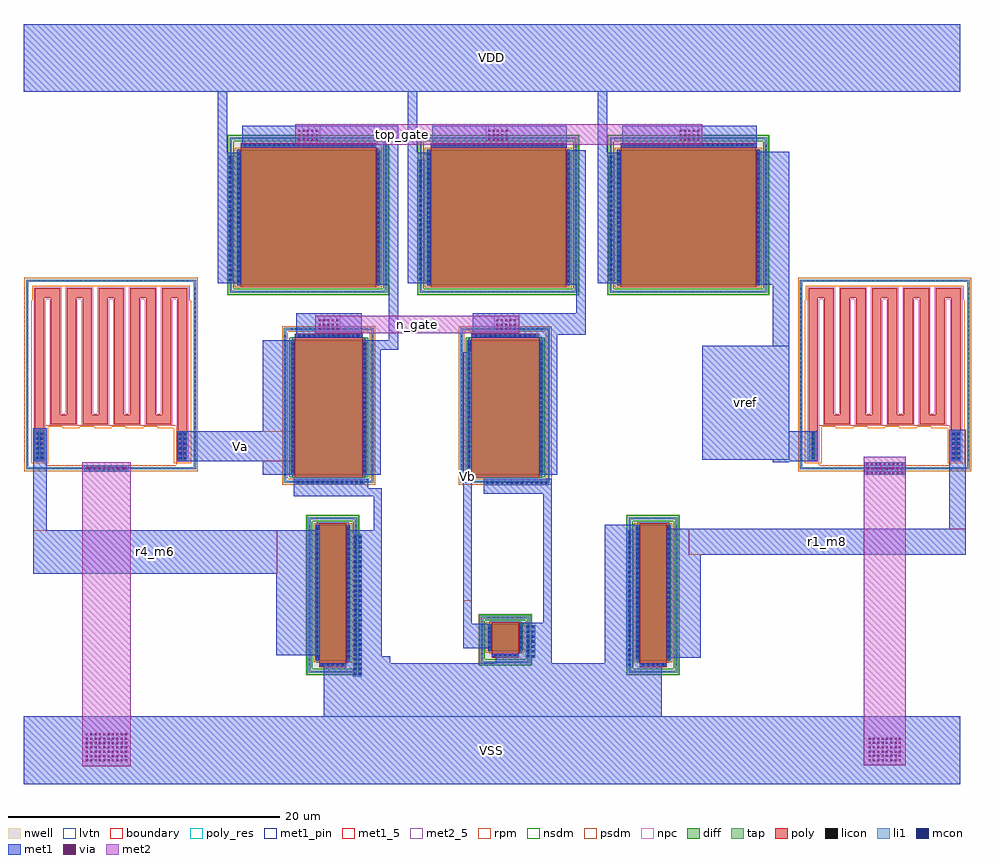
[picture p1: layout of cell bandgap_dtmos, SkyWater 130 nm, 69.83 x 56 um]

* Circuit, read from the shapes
.subckt bandgap_dtmos VDD VSS Va Vb n_gate r1_m8 r4_m6 top_gate vref
XM1 top_gate n_gate Va VSS sky130_fd_pr__nfet_01v8_lvt w=10 l=5
XM2 n_gate n_gate Vb VSS sky130_fd_pr__nfet_01v8_lvt w=10 l=5
XM3 top_gate top_gate VDD VDD sky130_fd_pr__pfet_01v8 w=10 l=10
XM4 VSS VSS r4_m6 VSS sky130_fd_pr__pfet_01v8_lvt w=10 l=2
XM5 n_gate top_gate VDD VDD sky130_fd_pr__pfet_01v8 w=10 l=10
XM6 VSS VSS Vb VSS sky130_fd_pr__pfet_01v8_lvt w=2 l=2
XM7 vref top_gate VDD VDD sky130_fd_pr__pfet_01v8 w=10 l=10
XM8 r1_m8 VSS VSS VSS sky130_fd_pr__pfet_01v8_lvt w=10 l=2
XR9 r4_m6 Va VSS sky130_fd_pr__res_high_po w=0.69 l=105.4
XR10 vref r1_m8 VSS sky130_fd_pr__res_high_po w=0.69 l=105.4
.ends

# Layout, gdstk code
import gdstk
lib = gdstk.Library(unit=1e-6, precision=1e-09)
def R(c, l, rs):  # rectangles x0, y0, x1, y1
    for r in rs: c.add(gdstk.rectangle(r[:2], r[2:], *l))
def A(c, l, x, y, w, h, nx, ny, dx, dy):  # array of equal rectangles
    R(c, l, [(x+i*dx, y+j*dy, x+i*dx+w, y+j*dy+h) for i in range(nx) for j in range(ny)])
nwell = (64, 20)
diff = (65, 20)
tap = (65, 44)
poly_res = (66, 13)
poly = (66, 20)
licon = (66, 44)
li1 = (67, 20)
mcon = (67, 44)
met1_5 = (68, 5)
met1_pin = (68, 16)
met1 = (68, 20)
via = (68, 44)
met2_5 = (69, 5)
met2 = (69, 20)
rpm = (86, 20)
nsdm = (93, 44)
psdm = (94, 20)
npc = (95, 20)
lvtn = (125, 44)
boundary = (235, 4)

sky130_fd_pr__res_high_p = lib.new_cell('sky130_fd_pr__res_high_po_0p69_ZA8BF2')
R(sky130_fd_pr__res_high_p, tap, [(-6.26,-6.99,6.26,-6.82), (-6.26,-6.82,-6.09,6.82), (6.09,-6.82,6.26,6.82), (-6.26,6.82,6.26,6.99)])
A(sky130_fd_pr__res_high_p, poly_res, -4.44, -3.66, 1.86, 0.69, 4, 1, 2.34, 0)
A(sky130_fd_pr__res_high_p, poly_res, -4.44, -2.97, 0.69, 8.62, 8, 1, 1.17, 0)
A(sky130_fd_pr__res_high_p, poly_res, -5.61, 5.65, 1.86, 0.69, 5, 1, 2.34, 0)
R(sky130_fd_pr__res_high_p, poly_res, [(-5.61,-4.26,-4.92,5.65), (4.92,-4.26,5.61,5.65)])
A(sky130_fd_pr__res_high_p, poly, -4.44, -3.66, 1.86, 0.69, 4, 1, 2.34, 0)
A(sky130_fd_pr__res_high_p, poly, -4.44, -2.97, 0.69, 8.62, 8, 1, 1.17, 0)
A(sky130_fd_pr__res_high_p, poly, -5.61, 5.65, 1.86, 0.69, 5, 1, 2.34, 0)
R(sky130_fd_pr__res_high_p, poly, [(-5.61,-6.34,-4.92,5.65), (4.92,-6.34,5.61,5.65)])
A(sky130_fd_pr__res_high_p, licon, -5.695, -6.99, 0.17, 0.17, 34, 2, 0.34, 13.81)
A(sky130_fd_pr__res_high_p, licon, -6.26, -6.375, 0.17, 0.17, 1, 38, 0, 0.34)
A(sky130_fd_pr__res_high_p, licon, 6.09, -6.375, 0.17, 0.17, 1, 38, 0, 0.34)
R(sky130_fd_pr__res_high_p, licon, [(-5.36,-6.26,-5.17,-4.26), (5.17,-6.26,5.36,-4.26)])
R(sky130_fd_pr__res_high_p, li1, [(-6.26,-6.99,6.26,-6.82), (-6.26,-6.82,-6.09,6.82), (6.09,-6.82,6.26,6.82), (-5.61,-6.34,-4.92,-4.18), (4.92,-6.34,5.61,-4.18), (-6.26,6.82,6.26,6.99)])
A(sky130_fd_pr__res_high_p, rpm, -3.6, -3.95, 1.27, 0.09, 3, 1, 2.34, 0)
R(sky130_fd_pr__res_high_p, rpm, [(-5.9,-6.54,-4.63,-3.86), (4.63,-6.54,5.9,-3.95), (3.42,-3.95,5.9,-3.86), (-5.9,-3.86,5.9,5.45), (-5.81,5.45,5.81,6.54)])
R(sky130_fd_pr__res_high_p, psdm, [(-6.385,-7.115,6.385,-6.695), (-6.385,-6.695,-4.81,-3.77), (4.81,-6.695,6.385,-3.77), (-6.385,-3.77,6.385,7.115)])
A(sky130_fd_pr__res_high_p, npc, -4.535, -3.755, 2.05, 0.88, 4, 1, 2.34, 0)
A(sky130_fd_pr__res_high_p, npc, -4.535, -2.875, 0.88, 8.43, 8, 1, 1.17, 0)
A(sky130_fd_pr__res_high_p, npc, -5.705, 5.555, 2.05, 0.88, 5, 1, 2.34, 0)
R(sky130_fd_pr__res_high_p, npc, [(-5.705,-6.435,-4.825,5.555), (4.825,-6.435,5.705,5.555)])
R(sky130_fd_pr__res_high_p, boundary, [(-6.17,-6.9,6.17,6.9)])

sky130_fd_pr__nfet_01v8_ = lib.new_cell('sky130_fd_pr__nfet_01v8_lvt_QYU87T')
R(sky130_fd_pr__nfet_01v8_, diff, [(-2.79,-5.155,2.79,4.845)])
R(sky130_fd_pr__nfet_01v8_, tap, [(-3.3,-5.715,3.3,-5.545), (-3.3,-5.545,-3.13,5.545), (3.13,-5.545,3.3,5.545), (-3.3,5.545,3.3,5.715)])
R(sky130_fd_pr__nfet_01v8_, poly, [(-2.5,-5.285,2.5,5.285)])
A(sky130_fd_pr__nfet_01v8_, licon, -2.805, -5.715, 0.17, 0.17, 17, 2, 0.34, 11.26)
A(sky130_fd_pr__nfet_01v8_, licon, -3.3, -5.185, 0.17, 0.17, 1, 31, 0, 0.34)
A(sky130_fd_pr__nfet_01v8_, licon, 3.13, -5.185, 0.17, 0.17, 1, 31, 0, 0.34)
A(sky130_fd_pr__nfet_01v8_, licon, -2.73, -5, 0.17, 0.17, 1, 29, 0, 0.34)
A(sky130_fd_pr__nfet_01v8_, licon, 2.56, -5, 0.17, 0.17, 1, 29, 0, 0.34)
A(sky130_fd_pr__nfet_01v8_, licon, -2.295, 5.035, 0.17, 0.17, 14, 1, 0.34, 0)
R(sky130_fd_pr__nfet_01v8_, li1, [(-3.3,-5.715,3.3,-5.545), (-3.3,-5.545,-3.13,5.545), (3.13,-5.545,3.3,5.545), (-2.73,-5.175,-2.56,4.865), (2.56,-5.175,2.73,4.865), (-2.5,5.035,2.5,5.205), (-3.3,5.545,3.3,5.715)])
A(sky130_fd_pr__nfet_01v8_, mcon, -2.73, -4.92, 0.17, 0.17, 1, 27, 0, 0.36)
A(sky130_fd_pr__nfet_01v8_, mcon, 2.56, -4.92, 0.17, 0.17, 1, 27, 0, 0.36)
A(sky130_fd_pr__nfet_01v8_, mcon, -2.245, 5.035, 0.17, 0.17, 13, 1, 0.36, 0)
R(sky130_fd_pr__nfet_01v8_, met1, [(-2.76,-5.155,-2.53,4.845), (2.53,-5.155,2.76,4.845), (-2.48,5.005,2.48,5.235)])
R(sky130_fd_pr__nfet_01v8_, nsdm, [(-2.915,-5.28,2.915,4.97)])
R(sky130_fd_pr__nfet_01v8_, psdm, [(-3.425,-5.84,3.425,-5.42), (-3.425,-5.42,-3.005,5.42), (3.005,-5.42,3.425,5.42), (-3.425,5.42,3.425,5.84)])
R(sky130_fd_pr__nfet_01v8_, npc, [(-2.395,4.935,2.395,5.305)])
R(sky130_fd_pr__nfet_01v8_, lvtn, [(-2.68,-5.335,2.68,5.025)])
R(sky130_fd_pr__nfet_01v8_, boundary, [(-3.215,-5.63,3.215,5.63)])

sky130_fd_pr__pfet_01v8_ = lib.new_cell('sky130_fd_pr__pfet_01v8_lvt_7UDTHK')
R(sky130_fd_pr__pfet_01v8_, nwell, [(-1.98,-1.92,1.98,1.92)])
R(sky130_fd_pr__pfet_01v8_, diff, [(-1.29,-0.82,1.29,1.18)])
R(sky130_fd_pr__pfet_01v8_, tap, [(-1.8,-1.74,1.8,-1.57), (-1.8,-1.57,-1.63,1.57), (1.63,-1.57,1.8,1.57), (-1.8,1.57,1.8,1.74)])
R(sky130_fd_pr__pfet_01v8_, poly, [(-1,-1.305,1,1.31)])
A(sky130_fd_pr__pfet_01v8_, licon, -1.275, -1.74, 0.17, 0.17, 8, 2, 0.34, 3.31)
A(sky130_fd_pr__pfet_01v8_, licon, -0.765, -1.225, 0.17, 0.17, 5, 1, 0.34, 0)
A(sky130_fd_pr__pfet_01v8_, licon, -1.8, -1.105, 0.17, 0.17, 1, 7, 0, 0.34)
A(sky130_fd_pr__pfet_01v8_, licon, 1.63, -1.105, 0.17, 0.17, 1, 7, 0, 0.34)
A(sky130_fd_pr__pfet_01v8_, licon, -1.23, -0.755, 0.17, 0.17, 1, 6, 0, 0.34)
A(sky130_fd_pr__pfet_01v8_, licon, 1.06, -0.755, 0.17, 0.17, 1, 6, 0, 0.34)
R(sky130_fd_pr__pfet_01v8_, li1, [(-1.8,-1.74,1.8,-1.57), (-1.8,-1.57,-1.63,1.57), (1.63,-1.57,1.8,1.57), (-1,-1.225,1,-1.055), (-1.23,-0.84,-1.06,1.2), (1.06,-0.84,1.23,1.2), (-1.8,1.57,1.8,1.74)])
A(sky130_fd_pr__pfet_01v8_, mcon, -0.805, -1.225, 0.17, 0.17, 5, 1, 0.36, 0)
A(sky130_fd_pr__pfet_01v8_, mcon, -1.23, -0.625, 0.17, 0.17, 1, 5, 0, 0.36)
A(sky130_fd_pr__pfet_01v8_, mcon, 1.06, -0.625, 0.17, 0.17, 1, 5, 0, 0.36)
R(sky130_fd_pr__pfet_01v8_, met1, [(-0.98,-1.255,0.98,-1.025), (-1.26,-0.82,-1.03,1.18), (1.03,-0.82,1.26,1.18)])
R(sky130_fd_pr__pfet_01v8_, nsdm, [(-1.925,-1.865,1.925,-1.445), (-1.925,-1.445,-1.505,1.445), (1.505,-1.445,1.925,1.445), (-1.925,1.445,1.925,1.865)])
R(sky130_fd_pr__pfet_01v8_, psdm, [(-1.415,-0.945,1.415,1.305)])
R(sky130_fd_pr__pfet_01v8_, npc, [(-0.865,-1.325,0.865,-0.955)])
R(sky130_fd_pr__pfet_01v8_, lvtn, [(-1.18,-1,1.18,1.36)])
R(sky130_fd_pr__pfet_01v8_, boundary, [(-1.715,-1.655,1.715,1.655)])

c_sky130_fd_pr__pfet_01v8_ = lib.new_cell('sky130_fd_pr__pfet_01v8_lvt_25BB9S')
R(c_sky130_fd_pr__pfet_01v8_, nwell, [(-1.98,-5.92,1.98,5.92)])
R(c_sky130_fd_pr__pfet_01v8_, diff, [(-1.29,-4.82,1.29,5.18)])
R(c_sky130_fd_pr__pfet_01v8_, tap, [(-1.8,-5.74,1.8,-5.57), (-1.8,-5.57,-1.63,5.57), (1.63,-5.57,1.8,5.57), (-1.8,5.57,1.8,5.74)])
R(c_sky130_fd_pr__pfet_01v8_, poly, [(-1,-5.305,1,5.31)])
A(c_sky130_fd_pr__pfet_01v8_, licon, -1.275, -5.74, 0.17, 0.17, 8, 2, 0.34, 11.31)
A(c_sky130_fd_pr__pfet_01v8_, licon, -0.765, -5.225, 0.17, 0.17, 5, 1, 0.34, 0)
A(c_sky130_fd_pr__pfet_01v8_, licon, -1.8, -5.185, 0.17, 0.17, 1, 31, 0, 0.34)
A(c_sky130_fd_pr__pfet_01v8_, licon, 1.63, -5.185, 0.17, 0.17, 1, 31, 0, 0.34)
A(c_sky130_fd_pr__pfet_01v8_, licon, -1.23, -4.665, 0.17, 0.17, 1, 29, 0, 0.34)
A(c_sky130_fd_pr__pfet_01v8_, licon, 1.06, -4.665, 0.17, 0.17, 1, 29, 0, 0.34)
R(c_sky130_fd_pr__pfet_01v8_, li1, [(-1.8,-5.74,1.8,-5.57), (-1.8,-5.57,-1.63,5.57), (1.63,-5.57,1.8,5.57), (-1,-5.225,1,-5.055), (-1.23,-4.84,-1.06,5.2), (1.06,-4.84,1.23,5.2), (-1.8,5.57,1.8,5.74)])
A(c_sky130_fd_pr__pfet_01v8_, mcon, -0.805, -5.225, 0.17, 0.17, 5, 1, 0.36, 0)
A(c_sky130_fd_pr__pfet_01v8_, mcon, -1.23, -4.585, 0.17, 0.17, 1, 27, 0, 0.36)
A(c_sky130_fd_pr__pfet_01v8_, mcon, 1.06, -4.585, 0.17, 0.17, 1, 27, 0, 0.36)
R(c_sky130_fd_pr__pfet_01v8_, met1, [(-0.98,-5.255,0.98,-5.025), (-1.26,-4.82,-1.03,5.18), (1.03,-4.82,1.26,5.18)])
R(c_sky130_fd_pr__pfet_01v8_, nsdm, [(-1.925,-5.865,1.925,-5.445), (-1.925,-5.445,-1.505,5.445), (1.505,-5.445,1.925,5.445), (-1.925,5.445,1.925,5.865)])
R(c_sky130_fd_pr__pfet_01v8_, psdm, [(-1.415,-4.945,1.415,5.305)])
R(c_sky130_fd_pr__pfet_01v8_, npc, [(-0.865,-5.325,0.865,-4.955)])
R(c_sky130_fd_pr__pfet_01v8_, lvtn, [(-1.18,-5,1.18,5.36)])
R(c_sky130_fd_pr__pfet_01v8_, boundary, [(-1.715,-5.655,1.715,5.655)])

c_sky130_fd_pr__pfet_01v8__ = lib.new_cell('sky130_fd_pr__pfet_01v8_XLZ98A')
R(c_sky130_fd_pr__pfet_01v8__, nwell, [(-5.98,-5.92,5.98,5.92)])
R(c_sky130_fd_pr__pfet_01v8__, diff, [(-5.29,-5.18,5.29,4.82)])
R(c_sky130_fd_pr__pfet_01v8__, tap, [(-5.8,-5.74,5.8,-5.57), (-5.8,-5.57,-5.63,5.57), (5.63,-5.57,5.8,5.57), (-5.8,5.57,5.8,5.74)])
R(c_sky130_fd_pr__pfet_01v8__, poly, [(-5,-5.31,5,5.305)])
A(c_sky130_fd_pr__pfet_01v8__, licon, -5.185, -5.74, 0.17, 0.17, 31, 2, 0.34, 11.31)
A(c_sky130_fd_pr__pfet_01v8__, licon, -5.8, -5.185, 0.17, 0.17, 1, 31, 0, 0.34)
A(c_sky130_fd_pr__pfet_01v8__, licon, 5.63, -5.185, 0.17, 0.17, 1, 31, 0, 0.34)
A(c_sky130_fd_pr__pfet_01v8__, licon, -5.23, -5.025, 0.17, 0.17, 1, 29, 0, 0.34)
A(c_sky130_fd_pr__pfet_01v8__, licon, 5.06, -5.025, 0.17, 0.17, 1, 29, 0, 0.34)
A(c_sky130_fd_pr__pfet_01v8__, licon, -4.845, 5.055, 0.17, 0.17, 29, 1, 0.34, 0)
R(c_sky130_fd_pr__pfet_01v8__, li1, [(-5.8,-5.74,5.8,-5.57), (-5.8,-5.57,-5.63,5.57), (5.63,-5.57,5.8,5.57), (-5.23,-5.2,-5.06,4.84), (5.06,-5.2,5.23,4.84), (-5,5.055,5,5.225), (-5.8,5.57,5.8,5.74)])
A(c_sky130_fd_pr__pfet_01v8__, mcon, -5.23, -4.945, 0.17, 0.17, 1, 27, 0, 0.36)
A(c_sky130_fd_pr__pfet_01v8__, mcon, 5.06, -4.945, 0.17, 0.17, 1, 27, 0, 0.36)
A(c_sky130_fd_pr__pfet_01v8__, mcon, -4.765, 5.055, 0.17, 0.17, 27, 1, 0.36, 0)
R(c_sky130_fd_pr__pfet_01v8__, met1, [(-5.26,-5.18,-5.03,4.82), (5.03,-5.18,5.26,4.82), (-4.98,5.025,4.98,5.255)])
R(c_sky130_fd_pr__pfet_01v8__, nsdm, [(-5.925,-5.865,5.925,-5.445), (-5.925,-5.445,-5.505,5.445), (5.505,-5.445,5.925,5.445), (-5.925,5.445,5.925,5.865)])
R(c_sky130_fd_pr__pfet_01v8__, psdm, [(-5.415,-5.305,5.415,4.945)])
R(c_sky130_fd_pr__pfet_01v8__, npc, [(-4.945,4.955,4.945,5.325)])
R(c_sky130_fd_pr__pfet_01v8__, boundary, [(-5.715,-5.655,5.715,5.655)])

bandgap_dtmos = lib.new_cell('bandgap_dtmos')
R(bandgap_dtmos, li1, [(14.3,12.9,14.9,23.4), (34.4,13.6,34.9,23.7), (27,14.3,27.7,16.7), (24,27,28.7,27.4), (10,27.1,15.1,27.4), (52.1,28,54.8,28.5), (-5.4,28.1,-2.4,28.4), (-9.21,28.78,-8.43,31.05), (1.4,28.9,2,30.9), (47.9,28.9,48.4,30.9), (58.4,28.9,59,30.9), (5,42,5.4,51.3), (19,42.1,19.5,51), (33.1,42.1,33.5,51.3)])
A(bandgap_dtmos, mcon, 14.335, 13.025, 0.17, 0.17, 1, 29, 0, 0.36)
A(bandgap_dtmos, mcon, 14.695, 13.025, 0.17, 0.17, 1, 29, 0, 0.36)
A(bandgap_dtmos, mcon, 34.565, 13.705, 0.17, 0.17, 1, 28, 0, 0.36)
A(bandgap_dtmos, mcon, 27.085, 14.335, 0.17, 0.17, 1, 7, 0, 0.36)
A(bandgap_dtmos, mcon, 27.445, 14.335, 0.17, 0.17, 1, 7, 0, 0.36)
A(bandgap_dtmos, mcon, 24.105, 27.115, 0.17, 0.17, 13, 1, 0.36, 0)
A(bandgap_dtmos, mcon, 10.125, 27.165, 0.17, 0.17, 14, 1, 0.36, 0)
A(bandgap_dtmos, mcon, -5.245, 28.165, 0.17, 0.17, 8, 1, 0.36, 0)
A(bandgap_dtmos, mcon, 52.105, 28.165, 0.17, 0.17, 8, 1, 0.36, 0)
A(bandgap_dtmos, mcon, 1.435, 28.915, 0.17, 0.17, 1, 6, 0, 0.36)
A(bandgap_dtmos, mcon, 1.795, 28.915, 0.17, 0.17, 1, 6, 0, 0.36)
A(bandgap_dtmos, mcon, 48.065, 28.915, 0.17, 0.17, 1, 6, 0, 0.36)
A(bandgap_dtmos, mcon, 58.435, 28.915, 0.17, 0.17, 1, 6, 0, 0.36)
A(bandgap_dtmos, mcon, 58.795, 28.915, 0.17, 0.17, 1, 6, 0, 0.36)
A(bandgap_dtmos, mcon, -9.085, 28.93, 0.17, 0.17, 1, 6, 0, 0.36)
A(bandgap_dtmos, mcon, -8.725, 28.93, 0.17, 0.17, 1, 6, 0, 0.36)
A(bandgap_dtmos, mcon, 5.115, 42.065, 0.17, 0.17, 1, 26, 0, 0.36)
A(bandgap_dtmos, mcon, 33.215, 42.115, 0.17, 0.17, 1, 26, 0, 0.36)
A(bandgap_dtmos, mcon, 19.165, 42.145, 0.17, 0.17, 1, 25, 0, 0.36)
R(bandgap_dtmos, met1_5, [(22.4,18.5,23.005,36.8), (-9.3,20.5,8.7,23.7), (39,21.9,59.4,23.8), (2,28.8,9.9,31)])
R(bandgap_dtmos, met1_pin, [(-10,5,59,10), (40,28.9,46.4,37.3), (-10,56,59,61)])
A(bandgap_dtmos, met1, 4.3, 41.9, 1.7, 9.6, 3, 1, 14, 0)
A(bandgap_dtmos, met1, 4.3, 51.5, 0.7, 4.5, 3, 1, 14, 0)
R(bandgap_dtmos, met1, [(-10,5,59,10), (12.1,10,37,13.9), (13.8,13.9,17,14.4), (24.8,13.9,28.9,14.6), (32.8,13.9,35.4,24.1), (37.4,14.3,39.9,21.9), (13.8,14.4,16.4,23.7), (8.6,14.5,11.8,20.5), (26.5,14.6,28.9,16.9), (22.4,15,24.5,16.8), (22.4,16.8,23,18.5), (28.3,16.9,28.9,26.4), (22.4,18.5,23.005,36.8), (-9.3,20.5,11.8,23.7), (37.4,21.9,59.4,23.8), (-9.3,23.7,-8.3,31.2), (15.8,23.7,16.4,26.2), (58.2,23.8,59.4,31.1), (9.9,26.2,16.4,26.8), (23.9,26.4,28.9,27.5), (9.9,26.8,15.4,27.5), (7.6,27.8,9.9,28.8), (15,27.8,16.3,37), (28,27.8,29.3,37.9), (51.95,27.8,54.95,28.7), (-5.55,28,-2.25,28.5), (45.2,28.7,46.4,28.8), (1.3,28.8,9.9,31), (45.2,28.8,48.5,28.9), (40,28.9,48.5,31), (7.6,31,9.9,37.7), (40,31,46.4,37.3), (15,37,17.6,37.7), (45.2,37.3,46.4,41.8), (16.9,37.7,17.6,41.8), (10.1,37.9,14.9,39.7), (23.1,37.9,29.3,38.1), (23.1,38.1,31.4,39.7), (30.7,39.7,31.4,41.8), (16,41.8,17.6,51.9), (30,41.8,31.4,51.7), (44,41.8,46.4,51.6), (6.1,51.9,17.6,53.5), (20.1,51.9,30,53.5), (34.1,51.9,44,53.5), (-10,56,59,61)])
A(bandgap_dtmos, via, -5.415, 6.665, 0.15, 0.15, 10, 7, 0.32, 0.32)
A(bandgap_dtmos, via, 52.255, 6.675, 0.15, 0.15, 8, 6, 0.32, 0.32)
A(bandgap_dtmos, via, 52.095, 27.855, 0.15, 0.15, 9, 3, 0.32, 0.32)
A(bandgap_dtmos, via, -5.415, 28.175, 0.15, 0.15, 10, 1, 0.32, 0)
A(bandgap_dtmos, via, 11.735, 38.455, 0.15, 0.15, 5, 3, 0.32, 0.32)
A(bandgap_dtmos, via, 24.835, 38.455, 0.15, 0.15, 5, 3, 0.32, 0.32)
A(bandgap_dtmos, via, 10.235, 52.405, 0.15, 0.15, 5, 3, 0.32, 0.32)
A(bandgap_dtmos, via, 24.235, 52.405, 0.15, 0.15, 5, 3, 0.32, 0.32)
A(bandgap_dtmos, via, 38.335, 52.405, 0.15, 0.15, 5, 3, 0.32, 0.32)
R(bandgap_dtmos, met2_5, [(13.3,38.2,24.7,39.5), (11.8,52.1,24.1,53.6)])
R(bandgap_dtmos, met2, [(-5.7,6.3,-2.1,28.7), (51.9,6.4,55,29.1), (11.5,38.2,26.5,39.5), (10,52.1,40,53.6)])
bandgap_dtmos.add(gdstk.Reference(sky130_fd_pr__res_high_p, (-3.555,35.175)))
bandgap_dtmos.add(gdstk.Reference(sky130_fd_pr__nfet_01v8_, (12.48,32.895)))
bandgap_dtmos.add(gdstk.Reference(sky130_fd_pr__pfet_01v8_, (25.48,15.62)))
bandgap_dtmos.add(gdstk.Reference(c_sky130_fd_pr__pfet_01v8_, (12.78,18.92)))
bandgap_dtmos.add(gdstk.Reference(sky130_fd_pr__nfet_01v8_, (25.48,32.895)))
bandgap_dtmos.add(gdstk.Reference(c_sky130_fd_pr__pfet_01v8__, (38.98,46.92)))
bandgap_dtmos.add(gdstk.Reference(c_sky130_fd_pr__pfet_01v8__, (24.98,46.92)))
bandgap_dtmos.add(gdstk.Reference(c_sky130_fd_pr__pfet_01v8__, (10.98,46.92)))
bandgap_dtmos.add(gdstk.Reference(sky130_fd_pr__res_high_p, (53.445,35.175)))
bandgap_dtmos.add(gdstk.Reference(c_sky130_fd_pr__pfet_01v8_, (36.38,18.92)))
bandgap_dtmos.add(gdstk.Label('top_gate', (17.95,52.85), layer=69, texttype=5))
bandgap_dtmos.add(gdstk.Label('n_gate', (19,38.85), layer=69, texttype=5))
bandgap_dtmos.add(gdstk.Label('Va', (5.95,29.9), layer=68, texttype=5))
bandgap_dtmos.add(gdstk.Label('r4_m6', (-0.3,22.1), layer=68, texttype=5))
bandgap_dtmos.add(gdstk.Label('r1_m8', (49.2,22.85), layer=68, texttype=5))
bandgap_dtmos.add(gdstk.Label('Vb', (22.702,27.65), layer=68, texttype=5))
bandgap_dtmos.add(gdstk.Label('VSS', (24.5,7.5), layer=68, texttype=5))
bandgap_dtmos.add(gdstk.Label('VDD', (24.5,58.5), layer=68, texttype=5))
bandgap_dtmos.add(gdstk.Label('vref', (43.2,33.1), layer=68, texttype=5))

lib.write_gds('bandgap_dtmos.gds')
